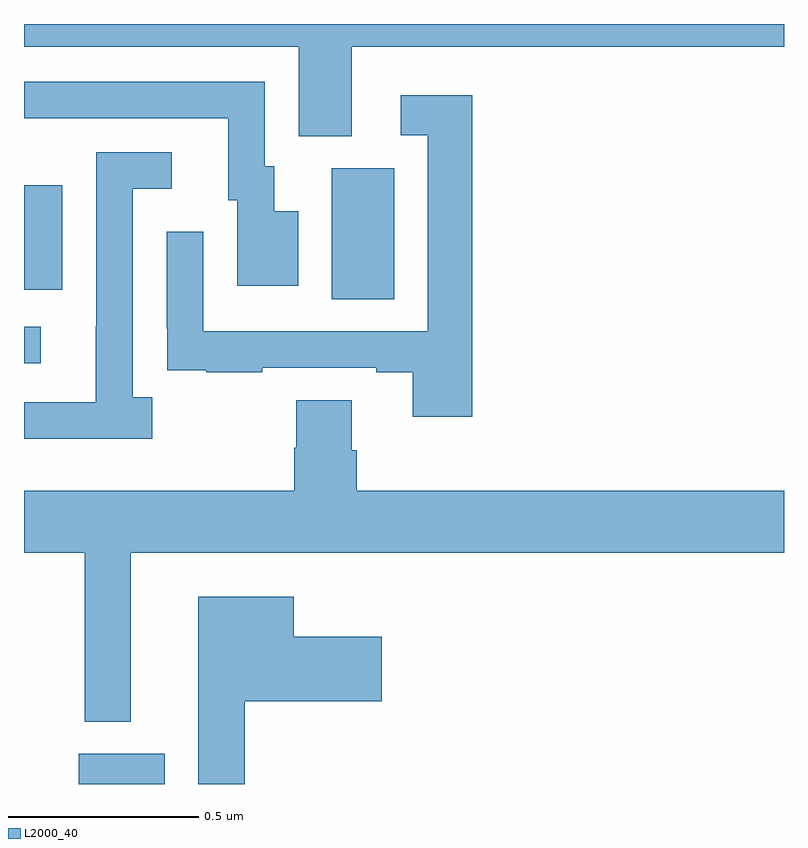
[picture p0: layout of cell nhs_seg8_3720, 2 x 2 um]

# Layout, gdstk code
import gdstk
lib = gdstk.Library(unit=1e-6, precision=1e-09)
def R(c, l, rs):  # rectangles x0, y0, x1, y1
    for r in rs: c.add(gdstk.rectangle(r[:2], r[2:], *l))
def P(c, l, *ps):  # polygons
    for p in ps: c.add(gdstk.Polygon(p, *l))
L2000_40 = (2000, 40)

nhs_seg8_3720 = lib.new_cell('nhs_seg8_3720')
R(nhs_seg8_3720, L2000_40, [(161.144,1107.9,161.371,1107.979), (161,1109.007,161.044,1109.103), (161.81,1109.176,161.974,1109.52), (161,1109.201,161.101,1109.476)])
P(nhs_seg8_3720, L2000_40, [(161.863,1109.84),(163,1109.84),(163,1109.9),(161,1109.9),(161,1109.84),(161.723,1109.84),(161.723,1109.605),(161.863,1109.605)],
  [(161.722,1109.407),(161.659,1109.407),(161.659,1109.526),(161.634,1109.526),(161.634,1109.748),(161,1109.748),(161,1109.652),(161.537,1109.652),(161.537,1109.436),(161.561,1109.436),(161.561,1109.211),(161.722,1109.211)],
  [(162.179,1109.713),(161.991,1109.713),(161.991,1109.607),(162.063,1109.607),(162.063,1109.091),(161.472,1109.091),(161.472,1109.353),(161.376,1109.353),(161.376,1109.098),(161.377,1109.098),(161.377,1108.989),(161.479,1108.989),(161.479,1108.983),(161.627,1108.983),(161.627,1108.995),(161.927,1108.995),(161.927,1108.983),(162.023,1108.983),(162.023,1108.866),(162.179,1108.866)],
  [(161.338,1108.918),(161.286,1108.918),(161.286,1109.466),(161.389,1109.466),(161.389,1109.562),(161.19,1109.562),(161.19,1109.105),(161.189,1109.105),(161.189,1108.905),(161,1108.905),(161,1108.808),(161.338,1108.808)],
  [(161.281,1108.508),(163,1108.508),(163,1108.672),(161.876,1108.672),(161.876,1108.778),(161.863,1108.778),(161.863,1108.91),(161.716,1108.91),(161.716,1108.785),(161.711,1108.785),(161.711,1108.672),(161,1108.672),(161,1108.508),(161.16,1108.508),(161.16,1108.064),(161.281,1108.064)],
  [(161.581,1108.118),(161.941,1108.118),(161.941,1108.288),(161.71,1108.288),(161.71,1108.393),(161.459,1108.393),(161.459,1107.9),(161.581,1107.9)])

lib.write_gds('nhs_seg8_3720.gds')
